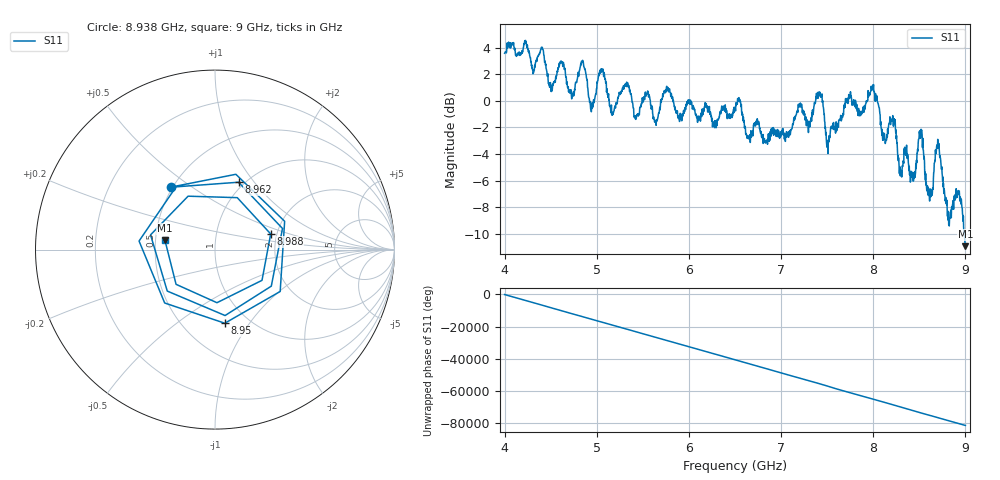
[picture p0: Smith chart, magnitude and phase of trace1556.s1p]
! Created with skrf 1.8.0 (http://scikit-rf.org).
# Hz S RI R 50.0
!freq ReS11 ImS11
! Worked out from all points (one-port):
!   1601 points, 4 GHz to 9 GHz, reference 50 ohm
!   lowest |S11| = -10.9 dB at 9 GHz (marker M1), VSWR 1.79, Z = 28.1 + j3.18 ohm
!   |S11| at or under -10 dB: 8.983768 GHz to 8.984754 GHz (985.4 kHz wide, 0.011 % of centre); 8.98992 GHz to end of sweep
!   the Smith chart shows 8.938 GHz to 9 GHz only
!   S11 on the Smith chart (normalised r, x): 8.938 GHz: 0.49, +0.42; 8.95 GHz: 0.78, -0.77; 8.962 GHz: 0.94, +0.84; 8.988 GHz: 1.85, +0.36; 9 GHz: 0.56, +0.06
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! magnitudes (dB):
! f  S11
! 4 GHz  3.6
! 4.5 GHz  1.0
! 4.625 GHz  2.9
! 4.731 GHz  0.4
! 4.85 GHz  2.9
! 4.947 GHz  -0.6
! 5.047 GHz  2.4
! 5.162 GHz  -1.0
! 5.25 GHz  0.6
! 5.875 GHz  -0.8
! 6.5 GHz  -0.7
! 7.125 GHz  -1.7
! 7.419 GHz  0.7
! 7.509 GHz  -4.0
! 7.75 GHz  0.2
! 7.994 GHz  1.0
! 8.112 GHz  -2.9
! 8.375 GHz  -4.1
! 8.441 GHz  -5.4
! 8.512 GHz  -2.8
! 8.603 GHz  -6.9
! 8.7 GHz  -2.9
! 8.822 GHz  -8.9
! 8.938 GHz  -7.4
! 8.95 GHz  -7.7
! 8.962 GHz  -8.0
! 8.988 GHz  -9.8
! 9 GHz  -10.9
